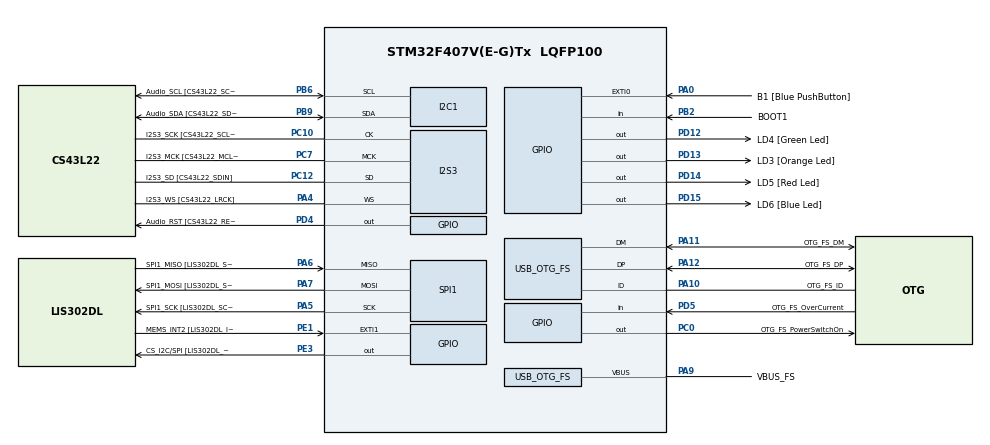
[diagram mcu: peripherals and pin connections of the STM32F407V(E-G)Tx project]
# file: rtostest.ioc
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I2S3.AudioFreq-Half_Duplex_Master=I2S_AUDIOFREQ_96K
I2S3.ErrorAudioFreq-Half_Duplex_Master=0.8 %
I2S3.RealAudioFreq-Half_Duplex_Master=96.774 KHz
Mcu.Family=STM32F4
Mcu.Name=STM32F407V(E-G)Tx
Mcu.Package=LQFP100
NVIC.PriorityGroup=NVIC_PRIORITYGROUP_0
PA0-WKUP.GPIO_Label=B1 [Blue PushButton]
PA0-WKUP.GPIO_ModeDefaultEXTI=GPIO_MODE_EVT_RISING
PA0-WKUP.GPIO_PuPd=GPIO_NOPULL
PA0-WKUP.Signal=GPXTI0
PA10.GPIO_Label=OTG_FS_ID
PA10.GPIO_Mode=GPIO_MODE_AF_PP
PA10.GPIO_PuPd=GPIO_NOPULL
PA10.GPIO_Speed=GPIO_SPEED_LOW
PA10.Mode=OTG/Dual_Role_Device
PA10.Signal=USB_OTG_FS_ID
PA11.GPIO_Label=OTG_FS_DM
PA11.GPIO_Mode=GPIO_MODE_AF_PP
PA11.GPIO_PuPd=GPIO_NOPULL
PA11.GPIO_Speed=GPIO_SPEED_LOW
PA11.Mode=OTG/Dual_Role_Device
PA11.Signal=USB_OTG_FS_DM
PA12.GPIO_Label=OTG_FS_DP
PA12.GPIO_Mode=GPIO_MODE_AF_PP
PA12.GPIO_PuPd=GPIO_NOPULL
PA12.GPIO_Speed=GPIO_SPEED_LOW
PA12.Mode=OTG/Dual_Role_Device
PA12.Signal=USB_OTG_FS_DP
PA13.GPIO_Label=SWDIO
PA13.Mode=Trace-Asynchronous_SW
PA13.Signal=SYS_JTMS-SWDIO
PA14.GPIO_Label=SWCLK
PA14.Mode=Trace-Asynchronous_SW
PA14.Signal=SYS_JTCK-SWCLK
PA4.GPIO_Label=I2S3_WS [CS43L22_LRCK]
PA4.GPIO_Mode=GPIO_MODE_AF_PP
PA4.GPIO_PuPd=GPIO_NOPULL
PA4.GPIO_Speed=GPIO_SPEED_LOW
PA4.Mode=Half_Duplex_Master
PA4.Signal=I2S3_WS
PA5.GPIO_Label=SPI1_SCK [LIS302DL_SCL/SPC]
PA5.GPIO_Mode=GPIO_MODE_AF_PP
PA5.GPIO_PuPd=GPIO_NOPULL
PA5.GPIO_Speed=GPIO_SPEED_LOW
PA5.Mode=Full_Duplex_Master
PA5.Signal=SPI1_SCK
PA6.GPIO_Label=SPI1_MISO [LIS302DL_SDO]
PA6.GPIO_Mode=GPIO_MODE_AF_PP
PA6.GPIO_PuPd=GPIO_NOPULL
PA6.GPIO_Speed=GPIO_SPEED_LOW
PA6.Mode=Full_Duplex_Master
PA6.Signal=SPI1_MISO
PA7.GPIO_Label=SPI1_MOSI [LIS302DL_SDA/SDI/SDO]
PA7.GPIO_Mode=GPIO_MODE_AF_PP
PA7.GPIO_PuPd=GPIO_NOPULL
PA7.GPIO_Speed=GPIO_SPEED_LOW
PA7.Mode=Full_Duplex_Master
PA7.Signal=SPI1_MOSI
PA9.GPIO_Label=VBUS_FS
PA9.GPIO_Mode=GPIO_MODE_INPUT
PA9.GPIO_PuPd=GPIO_NOPULL
PA9.Mode=Activate_VBUS
PA9.Signal=USB_OTG_FS_VBUS
PB10.GPIO_Label=CLK_IN [MP45DT02_CLK]
PB10.GPIO_Mode=GPIO_MODE_AF_PP
PB10.GPIO_PuPd=GPIO_NOPULL
PB10.GPIO_Speed=GPIO_SPEED_LOW
PB10.Signal=I2S2_CK
PB2.GPIO_Label=BOOT1
PB2.GPIO_Mode=GPIO_MODE_INPUT
PB2.GPIO_PuPd=GPIO_NOPULL
PB2.Signal=GPIO_Input
PB3.GPIO_Label=SWO
PB3.Mode=Trace-Asynchronous_SW
PB3.Signal=SYS_JTDO-SWO
PB6.GPIO_Label=Audio_SCL [CS43L22_SCL]
PB6.GPIO_Mode=GPIO_MODE_AF_OD
PB6.GPIO_PuPd=GPIO_NOPULL
PB6.GPIO_Speed=GPIO_SPEED_LOW
PB6.Mode=I2C
PB6.Signal=I2C1_SCL
PB9.GPIO_Label=Audio_SDA [CS43L22_SDA]
PB9.GPIO_Mode=GPIO_MODE_AF_OD
PB9.GPIO_PuPd=GPIO_NOPULL
PB9.GPIO_Speed=GPIO_SPEED_LOW
PB9.Mode=I2C
PB9.Signal=I2C1_SDA
PC0.GPIO_Label=OTG_FS_PowerSwitchOn
PC0.GPIO_Mode=GPIO_MODE_OUTPUT_OD
PC0.GPIO_PuPd=GPIO_NOPULL
PC0.GPIO_Speed=GPIO_SPEED_LOW
PC0.Signal=GPIO_Output
PC10.GPIO_Label=I2S3_SCK [CS43L22_SCLK]
PC10.GPIO_Mode=GPIO_MODE_AF_PP
PC10.GPIO_PuPd=GPIO_NOPULL
PC10.GPIO_Speed=GPIO_SPEED_LOW
PC10.Mode=Half_Duplex_Master
PC10.Signal=I2S3_CK
PC12.GPIO_Label=I2S3_SD [CS43L22_SDIN]
PC12.GPIO_Mode=GPIO_MODE_AF_PP
PC12.GPIO_PuPd=GPIO_NOPULL
PC12.GPIO_Speed=GPIO_SPEED_LOW
PC12.Mode=Half_Duplex_Master
PC12.Signal=I2S3_SD
PC14-OSC32_IN.GPIO_Label=PC14-OSC32_IN
PC14-OSC32_IN.Mode=LSE-External-Oscillator
PC14-OSC32_IN.Signal=RCC_OSC32_IN
PC15-OSC32_OUT.GPIO_Label=PC15-OSC32_OUT
PC15-OSC32_OUT.Mode=LSE-External-Oscillator
PC15-OSC32_OUT.Signal=RCC_OSC32_OUT
PC3.GPIO_Label=PDM_OUT [MP45DT02_DOUT]
PC3.GPIO_Mode=GPIO_MODE_AF_PP
PC3.GPIO_PuPd=GPIO_NOPULL
PC3.GPIO_Speed=GPIO_SPEED_LOW
PC3.Signal=I2S2_SD
PC7.GPIO_Label=I2S3_MCK [CS43L22_MCLK]
PC7.GPIO_Mode=GPIO_MODE_AF_PP
PC7.GPIO_PuPd=GPIO_NOPULL
PC7.GPIO_Speed=GPIO_SPEED_LOW
PC7.Mode=Master_Clock_Activated
PC7.Signal=I2S3_MCK
PD12.GPIO_Label=LD4 [Green Led]
PD12.GPIO_Mode=GPIO_MODE_OUTPUT_PP
PD12.GPIO_PuPd=GPIO_NOPULL
PD12.GPIO_Speed=GPIO_SPEED_LOW
PD12.Signal=GPIO_Output
PD13.GPIO_Label=LD3 [Orange Led]
PD13.GPIO_Mode=GPIO_MODE_OUTPUT_PP
PD13.GPIO_PuPd=GPIO_NOPULL
PD13.GPIO_Speed=GPIO_SPEED_LOW
PD13.Signal=GPIO_Output
PD14.GPIO_Label=LD5 [Red Led]
PD14.GPIO_Mode=GPIO_MODE_OUTPUT_PP
PD14.GPIO_PuPd=GPIO_NOPULL
PD14.GPIO_Speed=GPIO_SPEED_LOW
PD14.Signal=GPIO_Output
PD15.GPIO_Label=LD6 [Blue Led]
PD15.GPIO_Mode=GPIO_MODE_OUTPUT_PP
PD15.GPIO_PuPd=GPIO_NOPULL
PD15.GPIO_Speed=GPIO_SPEED_LOW
PD15.Signal=GPIO_Output
PD4.GPIO_Label=Audio_RST [CS43L22_RESET]
PD4.GPIO_Mode=GPIO_MODE_OUTPUT_PP
PD4.GPIO_PuPd=GPIO_NOPULL
PD4.GPIO_Speed=GPIO_SPEED_LOW
PD4.Signal=GPIO_Output
PD5.GPIO_Label=OTG_FS_OverCurrent
PD5.GPIO_Mode=GPIO_MODE_INPUT
PD5.GPIO_PuPd=GPIO_NOPULL
PD5.Signal=GPIO_Input
PE1.GPIO_Label=MEMS_INT2 [LIS302DL_INT2]
PE1.GPIO_ModeDefaultEXTI=GPIO_MODE_EVT_RISING
PE1.GPIO_PuPd=GPIO_NOPULL
PE1.Signal=GPXTI1
PE3.GPIO_Label=CS_I2C/SPI [LIS302DL_CS_I2C/SPI]
PE3.GPIO_Mode=GPIO_MODE_OUTPUT_PP
PE3.GPIO_PuPd=GPIO_NOPULL
PE3.GPIO_Speed=GPIO_SPEED_LOW
PE3.Signal=GPIO_Output
PH0-OSC_IN.GPIO_Label=PH0-OSC_IN
PH0-OSC_IN.Mode=HSE-External-Oscillator
PH0-OSC_IN.Signal=RCC_OSC_IN
PH1-OSC_OUT.GPIO_Label=PH1-OSC_OUT
PH1-OSC_OUT.Mode=HSE-External-Oscillator
PH1-OSC_OUT.Signal=RCC_OSC_OUT
ProjectManager.TargetToolchain=TrueSTUDIO 4.3.1
RCC.APB1CLKDivider=RCC_HCLK_DIV4
RCC.APB2CLKDivider=RCC_HCLK_DIV2
RCC.HSE_VALUE=8000000
RCC.HSI_VALUE=16000000
RCC.LSE_VALUE=32768
RCC.PLLM=8
RCC.PLLN=336
RCC.PLLQ=7
RCC.PLLSource=RCC_PLLSOURCE_HSE
RCC.SYSCLKSource=RCC_SYSCLKSOURCE_PLLCLK
SPI1.BaudRatePrescaler-Full_Duplex_Master=SPI_BAUDRATEPRESCALER_2
SPI1.CalculateBaudRate-Full_Duplex_Master=42.0 MBits/s
SPI1.Mode-Full_Duplex_Master=SPI_MODE_MASTER

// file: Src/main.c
/**
  ******************************************************************************
  * File Name          : main.c
  * Date               : 10/05/2014 16:45:59
  * Description        : Main program body
  ******************************************************************************
  *
  * COPYRIGHT(c) 2014 STMicroelectronics
  *
  * Redistribution and use in source and binary forms, with or without modification,
  * are permitted provided that the following conditions are met:
  *   1. Redistributions of source code must retain the above copyright notice,
  *      this list of conditions and the following disclaimer.
  *   2. Redistributions in binary form must reproduce the above copyright notice,
  *      this list of conditions and the following disclaimer in the documentation
  *      and/or other materials provided with the distribution.
  *   3. Neither the name of STMicroelectronics nor the names of its contributors
  *      may be used to endorse or promote products derived from this software
  *      without specific prior written permission.
  *
  * THIS SOFTWARE IS PROVIDED BY THE COPYRIGHT HOLDERS AND CONTRIBUTORS "AS IS"
  * AND ANY EXPRESS OR IMPLIED WARRANTIES, INCLUDING, BUT NOT LIMITED TO, THE
  * IMPLIED WARRANTIES OF MERCHANTABILITY AND FITNESS FOR A PARTICULAR PURPOSE ARE
  * DISCLAIMED. IN NO EVENT SHALL THE COPYRIGHT HOLDER OR CONTRIBUTORS BE LIABLE
  * FOR ANY DIRECT, INDIRECT, INCIDENTAL, SPECIAL, EXEMPLARY, OR CONSEQUENTIAL
  * DAMAGES (INCLUDING, BUT NOT LIMITED TO, PROCUREMENT OF SUBSTITUTE GOODS OR
  * SERVICES; LOSS OF USE, DATA, OR PROFITS; OR BUSINESS INTERRUPTION) HOWEVER
  * CAUSED AND ON ANY THEORY OF LIABILITY, WHETHER IN CONTRACT, STRICT LIABILITY,
  * OR TORT (INCLUDING NEGLIGENCE OR OTHERWISE) ARISING IN ANY WAY OUT OF THE USE
  * OF THIS SOFTWARE, EVEN IF ADVISED OF THE POSSIBILITY OF SUCH DAMAGE.
  *
  ******************************************************************************
  */

#include "stm32f4xx_hal.h"

I2C_HandleTypeDef hi2c1;

I2S_HandleTypeDef hi2s3;

SPI_HandleTypeDef hspi1;

/* USER CODE BEGIN 0 */
extern void xPortSysTickHandler( void );
#include "stm32f4_discovery.h"
#include "cmsis_os.h"
/* Private variables ---------------------------------------------------------*/
osThreadId LEDThread1Handle, LEDThread2Handle;
/* Private function prototypes -----------------------------------------------*/
static void LED_Thread1(void const *argument);
static void LED_Thread2(void const *argument);
/* USER CODE END 0 */

static void SystemClock_Config(void);
static void MX_GPIO_Init(void);
static void MX_I2C1_Init(void);
static void MX_I2S3_Init(void);
static void MX_SPI1_Init(void);
static void MX_USB_OTG_FS_USB_Init(void);

int main(void)
{

  /* MCU Configuration----------------------------------------------------------*/

  /* Reset of all peripherals, Initializes the Flash interface and the Systick. */
  HAL_Init();

  /* Configure the system clock */
  SystemClock_Config();

  /* Initialize all configured peripherals */
  MX_GPIO_Init();
  MX_I2C1_Init();
  MX_I2S3_Init();
  MX_SPI1_Init();
  MX_USB_OTG_FS_USB_Init();

  /* USER CODE BEGIN 2 */
  /* Thread 1 definition */
  osThreadDef(LED3, LED_Thread1, osPriorityNormal, 0, configMINIMAL_STACK_SIZE);

   /*  Thread 2 definition */
  osThreadDef(LED4, LED_Thread2, osPriorityNormal, 0, configMINIMAL_STACK_SIZE);

  /* Start thread 1 */
  LEDThread1Handle = osThreadCreate (osThread(LED3), NULL);

  /* Start thread 2 */
  LEDThread2Handle = osThreadCreate (osThread(LED4), NULL);

  /* Start scheduler    */
  osKernelStart (NULL, NULL);
  /* USER CODE END 2 */

  while (1)
  {
  }

}

/** System Clock Configuration
*/
static void SystemClock_Config(void)
{

  RCC_ClkInitTypeDef RCC_ClkInitStruct;
  RCC_PeriphCLKInitTypeDef PeriphClkInitStruct;
  RCC_OscInitTypeDef RCC_OscInitStruct;

  __PWR_CLK_ENABLE();

  __HAL_PWR_VOLTAGESCALING_CONFIG(PWR_REGULATOR_VOLTAGE_SCALE1);

  RCC_OscInitStruct.OscillatorType = RCC_OSCILLATORTYPE_HSE;
  RCC_OscInitStruct.HSEState = RCC_HSE_ON;
  RCC_OscInitStruct.PLL.PLLState = RCC_PLL_ON;
  RCC_OscInitStruct.PLL.PLLSource = RCC_PLLSOURCE_HSE;
  RCC_OscInitStruct.PLL.PLLM = 8;
  RCC_OscInitStruct.PLL.PLLN = 336;
  RCC_OscInitStruct.PLL.PLLP = RCC_PLLP_DIV2;
  RCC_OscInitStruct.PLL.PLLQ = 7;
  HAL_RCC_OscConfig(&RCC_OscInitStruct);

  RCC_ClkInitStruct.ClockType = RCC_CLOCKTYPE_SYSCLK|RCC_CLOCKTYPE_PCLK1
                              |RCC_CLOCKTYPE_PCLK2;
  RCC_ClkInitStruct.SYSCLKSource = RCC_SYSCLKSOURCE_PLLCLK;
  RCC_ClkInitStruct.AHBCLKDivider = RCC_SYSCLK_DIV1;
  RCC_ClkInitStruct.APB1CLKDivider = RCC_HCLK_DIV4;
  RCC_ClkInitStruct.APB2CLKDivider = RCC_HCLK_DIV2;
  HAL_RCC_ClockConfig(&RCC_ClkInitStruct, FLASH_LATENCY_5);

  PeriphClkInitStruct.PeriphClockSelection = RCC_PERIPHCLK_I2S;
  PeriphClkInitStruct.PLLI2S.PLLI2SN = 192;
  PeriphClkInitStruct.PLLI2S.PLLI2SR = 2;
  HAL_RCCEx_PeriphCLKConfig(&PeriphClkInitStruct);

}

/* I2C1 init function */
void MX_I2C1_Init(void)
{

  hi2c1.Instance = I2C1;
  hi2c1.Init.ClockSpeed = 100000;
  hi2c1.Init.DutyCycle = I2C_DUTYCYCLE_2;
  hi2c1.Init.OwnAddress1 = 0;
  hi2c1.Init.AddressingMode = I2C_ADDRESSINGMODE_7BIT;
  hi2c1.Init.DualAddressMode = I2C_DUALADDRESS_DISABLED;
  hi2c1.Init.OwnAddress2 = 0;
  hi2c1.Init.GeneralCallMode = I2C_GENERALCALL_DISABLED;
  hi2c1.Init.NoStretchMode = I2C_NOSTRETCH_DISABLED;
  HAL_I2C_Init(&hi2c1);

}

/* I2S3 init function */
void MX_I2S3_Init(void)
{

  hi2s3.Instance = SPI3;
  hi2s3.Init.Mode = I2S_MODE_MASTER_TX;
  hi2s3.Init.Standard = I2S_STANDARD_PHILLIPS;
  hi2s3.Init.DataFormat = I2S_DATAFORMAT_16B;
  hi2s3.Init.MCLKOutput = I2S_MCLKOUTPUT_ENABLE;
  hi2s3.Init.AudioFreq = I2S_AUDIOFREQ_96K;
  hi2s3.Init.CPOL = I2S_CPOL_LOW;
  hi2s3.Init.ClockSource = I2S_CLOCK_PLL;
  hi2s3.Init.FullDuplexMode = I2S_FULLDUPLEXMODE_DISABLE;
  HAL_I2S_Init(&hi2s3);

}

/* SPI1 init function */
void MX_SPI1_Init(void)
{

  hspi1.Instance = SPI1;
  hspi1.Init.Mode = SPI_MODE_MASTER;
  hspi1.Init.Direction = SPI_DIRECTION_2LINES;
  hspi1.Init.DataSize = SPI_DATASIZE_8BIT;
  hspi1.Init.CLKPolarity = SPI_POLARITY_LOW;
  hspi1.Init.CLKPhase = SPI_PHASE_1EDGE;
  hspi1.Init.NSS = SPI_NSS_SOFT;
  hspi1.Init.BaudRatePrescaler = SPI_BAUDRATEPRESCALER_2;
  hspi1.Init.FirstBit = SPI_FIRSTBIT_MSB;
  hspi1.Init.TIMode = SPI_TIMODE_DISABLED;
  hspi1.Init.CRCCalculation = SPI_CRCCALCULATION_DISABLED;
  HAL_SPI_Init(&hspi1);

}

/* USB_OTG_FS init function */
void MX_USB_OTG_FS_USB_Init(void)
{

}

/** Configure pins as
        * Analog
        * Input
        * Output
        * EVENT_OUT
        * EXTI
     PC3   ------> I2S2_SD
     PB10   ------> I2S2_CK
     PA9   ------> USB_OTG_FS_VBUS
     PA10   ------> USB_OTG_FS_ID
     PA11   ------> USB_OTG_FS_DM
     PA12   ------> USB_OTG_FS_DP
*/
void MX_GPIO_Init(void)
{

  GPIO_InitTypeDef GPIO_InitStruct;

  /* GPIO Ports Clock Enable */
  __GPIOE_CLK_ENABLE();
  __GPIOC_CLK_ENABLE();
  __GPIOH_CLK_ENABLE();
  __GPIOA_CLK_ENABLE();
  __GPIOB_CLK_ENABLE();
  __GPIOD_CLK_ENABLE();

  /*Configure GPIO pin : PE3 */
  GPIO_InitStruct.Pin = GPIO_PIN_3;
  GPIO_InitStruct.Mode = GPIO_MODE_OUTPUT_PP;
  GPIO_InitStruct.Pull = GPIO_NOPULL;
  GPIO_InitStruct.Speed = GPIO_SPEED_LOW;
  HAL_GPIO_Init(GPIOE, &GPIO_InitStruct);

  /*Configure GPIO pin : PC0 */
  GPIO_InitStruct.Pin = GPIO_PIN_0;
  GPIO_InitStruct.Mode = GPIO_MODE_OUTPUT_OD;
  GPIO_InitStruct.Pull = GPIO_NOPULL;
  GPIO_InitStruct.Speed = GPIO_SPEED_LOW;
  HAL_GPIO_Init(GPIOC, &GPIO_InitStruct);

  /*Configure GPIO pin : PC3 */
  GPIO_InitStruct.Pin = GPIO_PIN_3;
  GPIO_InitStruct.Mode = GPIO_MODE_AF_PP;
  GPIO_InitStruct.Pull = GPIO_NOPULL;
  GPIO_InitStruct.Speed = GPIO_SPEED_LOW;
  GPIO_InitStruct.Alternate = GPIO_AF5_SPI2;
  HAL_GPIO_Init(GPIOC, &GPIO_InitStruct);

  /*Configure GPIO pin : PA0 */
  GPIO_InitStruct.Pin = GPIO_PIN_0;
  GPIO_InitStruct.Mode = GPIO_MODE_EVT_RISING;
  GPIO_InitStruct.Pull = GPIO_NOPULL;
  HAL_GPIO_Init(GPIOA, &GPIO_InitStruct);

  /*Configure GPIO pin : PB2 */
  GPIO_InitStruct.Pin = GPIO_PIN_2;
  GPIO_InitStruct.Mode = GPIO_MODE_INPUT;
  GPIO_InitStruct.Pull = GPIO_NOPULL;
  HAL_GPIO_Init(GPIOB, &GPIO_InitStruct);

  /*Configure GPIO pin : PB10 */
  GPIO_InitStruct.Pin = GPIO_PIN_10;
  GPIO_InitStruct.Mode = GPIO_MODE_AF_PP;
  GPIO_InitStruct.Pull = GPIO_NOPULL;
  GPIO_InitStruct.Speed = GPIO_SPEED_LOW;
  GPIO_InitStruct.Alternate = GPIO_AF5_SPI2;
  HAL_GPIO_Init(GPIOB, &GPIO_InitStruct);

  /*Configure GPIO pins : PD12 PD13 PD14 PD15
                           PD4 */
  GPIO_InitStruct.Pin = GPIO_PIN_12|GPIO_PIN_13|GPIO_PIN_14|GPIO_PIN_15
                          |GPIO_PIN_4;
  GPIO_InitStruct.Mode = GPIO_MODE_OUTPUT_PP;
  GPIO_InitStruct.Pull = GPIO_NOPULL;
  GPIO_InitStruct.Speed = GPIO_SPEED_LOW;
  HAL_GPIO_Init(GPIOD, &GPIO_InitStruct);

  /*Configure GPIO pin : PA9 */
  GPIO_InitStruct.Pin = GPIO_PIN_9;
  GPIO_InitStruct.Mode = GPIO_MODE_INPUT;
  GPIO_InitStruct.Pull = GPIO_NOPULL;
  HAL_GPIO_Init(GPIOA, &GPIO_InitStruct);

  /*Configure GPIO pins : PA10 PA11 PA12 */
  GPIO_InitStruct.Pin = GPIO_PIN_10|GPIO_PIN_11|GPIO_PIN_12;
  GPIO_InitStruct.Mode = GPIO_MODE_AF_PP;
  GPIO_InitStruct.Pull = GPIO_NOPULL;
  GPIO_InitStruct.Speed = GPIO_SPEED_LOW;
  GPIO_InitStruct.Alternate = GPIO_AF10_OTG_FS;
  HAL_GPIO_Init(GPIOA, &GPIO_InitStruct);

  /*Configure GPIO pin : PD5 */
  GPIO_InitStruct.Pin = GPIO_PIN_5;
  GPIO_InitStruct.Mode = GPIO_MODE_INPUT;
  GPIO_InitStruct.Pull = GPIO_NOPULL;
  HAL_GPIO_Init(GPIOD, &GPIO_InitStruct);

  /*Configure GPIO pin : PE1 */
  GPIO_InitStruct.Pin = GPIO_PIN_1;
  GPIO_InitStruct.Mode = GPIO_MODE_EVT_RISING;
  GPIO_InitStruct.Pull = GPIO_NOPULL;
  HAL_GPIO_Init(GPIOE, &GPIO_InitStruct);

}

/* USER CODE BEGIN 4 */
void HAL_SYSTICK_Callback(void){
	  xPortSysTickHandler();
}

/**
  * @brief  Toggle LED3 and LED4 thread
  * @param  thread not used
  * @retval None
  */
static void LED_Thread1(void const *argument)
{
  uint32_t count = 0;
  (void) argument;

  for(;;)
  {
    count = osKernelSysTick() + 5000;

    /* Toggle LED3 every 200 ms for 5 s */
    while (count >= osKernelSysTick())
    {
      BSP_LED_Toggle(LED3);

      osDelay(200);
    }

    /* Turn off LED3 */
    BSP_LED_Off(LED3);

    /* Suspend Thread 1 */
    osThreadSuspend(NULL);

    count = osKernelSysTick() + 5000;

    /* Toggle LED3 every 400 ms for 5 s */
    while (count >= osKernelSysTick())
    {
      BSP_LED_Toggle(LED3);

      osDelay(400);
    }

    /* Resume Thread 2*/
    osThreadResume(LEDThread2Handle);

  }
}

/**
  * @brief  Toggle LED4 thread
  * @param  argument not used
  * @retval None
  */
static void LED_Thread2(void const *argument)
{
  uint32_t count;
  (void) argument;

  for(;;)
  {
    count = osKernelSysTick() + 10000;

    /* Toggle LED4 every 500 ms for 10 s */
    while (count >= osKernelSysTick())
    {
      BSP_LED_Toggle(LED4);

      osDelay(500);
    }

    /* Turn off LED4 */
    BSP_LED_Off(LED4);

    /* Resume Thread 1 */
    osThreadResume(LEDThread1Handle);

    /* Suspend Thread 2 */
    osThreadSuspend(NULL);
  }
}
/* USER CODE END 4 */

/************************ (C) COPYRIGHT STMicroelectronics *****END OF FILE****/
